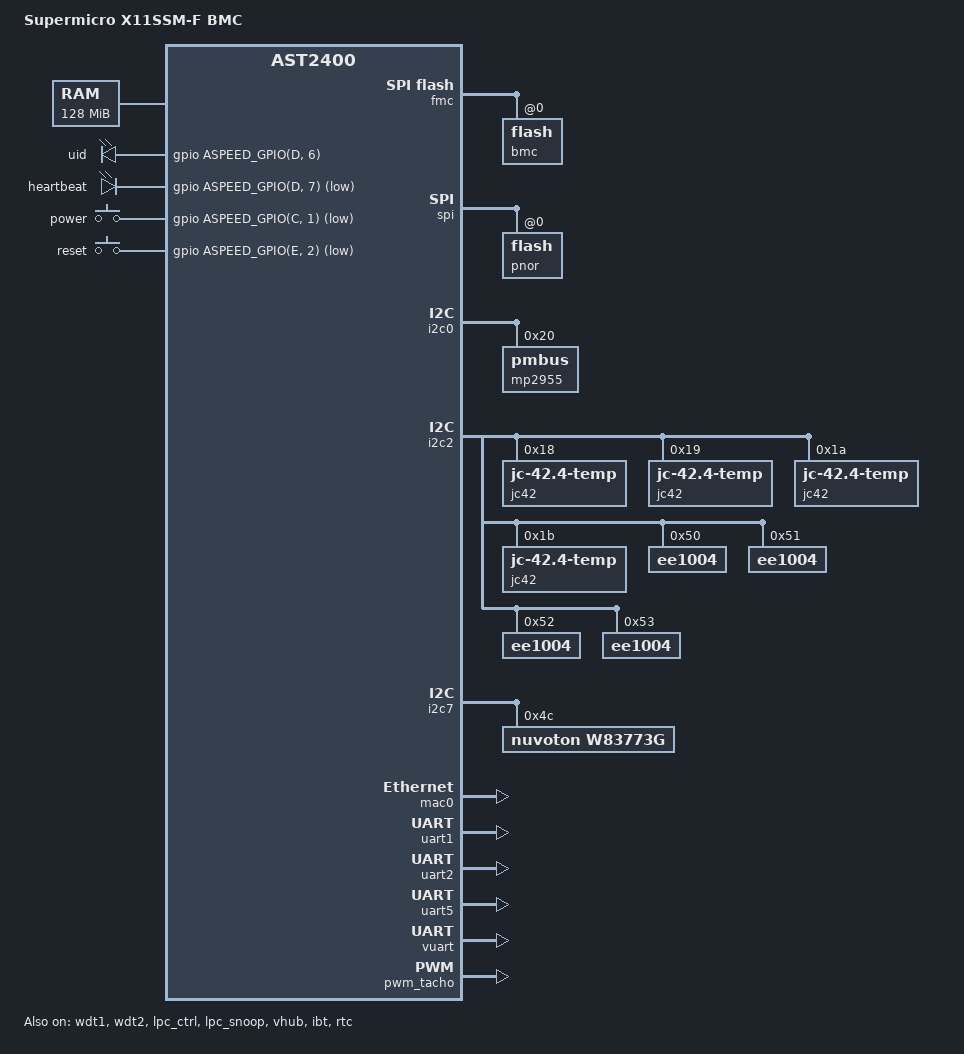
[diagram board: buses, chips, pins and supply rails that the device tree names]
// SPDX-License-Identifier: GPL-2.0+
/dts-v1/;

#include "aspeed-g4.dtsi"
#include <dt-bindings/gpio/aspeed-gpio.h>

/ {
	model = "Supermicro X11SSM-F BMC";
	compatible = "supermicro,x11ssmf-bmc", "aspeed,ast2400";

	chosen {
		stdout-path = &uart5;
		//bootargs = "console=ttyS4,115200 earlyprintk";
	};

	memory@40000000 {
		/* 128 MiB DDR3 memory */
		reg = <0x40000000 0x08000000>;
	};

	reserved-memory {
		#address-cells = <1>;
		#size-cells = <1>;
		ranges;

		vga_memory: framebuffer@47000000 {
			no-map;
			reg = <0x47000000 0x01000000>; /* 16MB */
		};

		flash_memory: region@98000000 {
			no-map;
			reg = <0x98000000 0x01000000>; /* 16MB */
		};
	};

	leds {
		compatible = "gpio-leds";

		uid {
			gpios = <&gpio ASPEED_GPIO(D, 6) GPIO_ACTIVE_HIGH>;
		};

		heartbeat {
			gpios = <&gpio ASPEED_GPIO(D, 7) GPIO_ACTIVE_LOW>;
		};
	};

	gpio-keys {
		compatible = "gpio-keys";

		power {
			label = "power";
			gpios = <&gpio ASPEED_GPIO(C, 1) GPIO_ACTIVE_LOW>;
			linux,code = <ASPEED_GPIO(C, 1)>;
		};

		reset {
			label = "reset";
			gpios = <&gpio ASPEED_GPIO(E, 2) GPIO_ACTIVE_LOW>;
			linux,code = <ASPEED_GPIO(E, 2)>;
		};
	};
/*
	iio-hwmon {
		compatible = "iio-hwmon";
		io-channels = <&adc 0>, <&adc 1>, <&adc 2>, <&adc 3>,
			      <&adc 4>, <&adc 5>, <&adc 6>, <&adc 7>,
			      <&adc 8>, <&adc 9>, <&adc 10>, <&adc 11>,
			      <&adc 12>, <&adc 13>, <&adc 14>, <&adc 15>;
	};
*/
};

&wdt1 {
	status = "okay";
	aspeed,reset-type = "system";
};

&wdt2 {
	status = "okay";
	aspeed,reset-type = "system";
};

&pinctrl {
	pinctrl-names = "default";
	pinctrl-0 = <&pinctrl_flbusy_default &pinctrl_flwp_default
		     &pinctrl_vgahs_default &pinctrl_vgavs_default
		     &pinctrl_ddcclk_default &pinctrl_ddcdat_default>;
};

&fmc {
	status = "okay";
	flash@0 {
		status = "okay";
		m25p,fast-read;
		label = "bmc";
#include "openbmc-flash-layout.dtsi"
	};
};

&spi {
	status = "okay";
	pinctrl-names = "default";
	pinctrl-0 = <&pinctrl_spi1_default>;
	flash@0 {
		status = "okay";
		m25p,fast-read;
		label = "pnor";
	};
};

&gpio {
/*
	pin_gpio_e4 {
		gpios = <&gpio ASPEED_GPIO(E, 4) GPIO_ACTIVE_LOW>;
		output-low;
		line-name = "bios_mux";
	};

	pin_gpio_e6 {
		gpios = <&gpio ASPEED_GPIO(E, 6) GPIO_ACTIVE_LOW>;
		output-high;
		line-name = "rtl8211e_phyrst";
	};
*/
};

&i2c0 {
	status = "okay";

	/* MPS MP2955 */
	mp2955@20 {
		compatible = "pmbus"; /* no specific driver available */
		reg = <0x20>;
	};
};

/*
&i2c1 {
	status = "okay";
};
*/

&i2c2 {
	status = "okay";

	/* DDR TEMP */
	jc42@18 {
		compatible = "jedec,jc-42.4-temp";
		reg = <0x18>;
	};

	/* DDR TEMP */
	jc42@19 {
		compatible = "jedec,jc-42.4-temp";
		reg = <0x19>;
	};

	/* DDR TEMP */
	jc42@1a {
		compatible = "jedec,jc-42.4-temp";
		reg = <0x1a>;
	};

	/* DDR TEMP */
	jc42@1b {
		compatible = "jedec,jc-42.4-temp";
		reg = <0x1b>;
	};

	/* SPD EEPROM */
	ee1004@50 {
		compatible = "ee1004";
		reg = <0x50>;
	};

	/* SPD EEPROM */
	ee1004@51 {
		compatible = "ee1004";
		reg = <0x51>;
	};

	/* SPD EEPROM */
	ee1004@52 {
		compatible = "ee1004";
		reg = <0x52>;
	};

	/* SPD EEPROM */
	ee1004@53 {
		compatible = "ee1004";
		reg = <0x53>;
	};
};

/*
&i2c3 {
	status = "okay";
};

&i2c4 {
	status = "okay";
};

&i2c5 {
	status = "okay";
};

&i2c6 {
	status = "okay";
};
*/

&i2c7 {
	status = "okay";

	/* Nuvoton W83773G */
	w83773g@4c {
		compatible = "nuvoton,w83773g";
		reg = <0x4c>;
	};
};

/*
&i2c13 {
	status = "okay";
};
*/

/*
&adc {
	status = "okay";
	pinctrl-names = "default";
	pinctrl-0 = <&pinctrl_adc0_default
		     &pinctrl_adc1_default
		     &pinctrl_adc2_default
		     &pinctrl_adc3_default
		     &pinctrl_adc4_default
		     &pinctrl_adc5_default
		     &pinctrl_adc6_default
		     &pinctrl_adc7_default
		     &pinctrl_adc8_default
		     &pinctrl_adc9_default
		     &pinctrl_adc10_default
		     &pinctrl_adc11_default
		     &pinctrl_adc12_default
		     &pinctrl_adc13_default
		     &pinctrl_adc14_default
		     &pinctrl_adc15_default>;
};
*/

&mac0 {
	status = "okay";

	pinctrl-names = "default";
	pinctrl-0 = <&pinctrl_rmii1_default>;

	use-ncsi;
};

/*
TODO: PHY is constantly resetting
&mac1 {
	status = "okay";

	pinctrl-names = "default";
	pinctrl-0 = <&pinctrl_rgmii2_default &pinctrl_mdio2_default>;

	//reset-gpios = <&gpio ASPEED_GPIO(E, 6) GPIO_ACTIVE_HIGH>;
};
*/

/* ttyS0 / COM A */
&uart1 {
	status = "okay";
};

/* ttyS1 / COM B */
&uart2 {
	status = "okay";
};

/* BMC console UART */
&uart5 {
	status = "okay";
};

&vuart {
    status = "okay";
};

&lpc_ctrl {
	status = "okay";
	memory-region = <&flash_memory>;
	flash = <&spi>;
};

&lpc_snoop {
    status = "okay";
    snoop-ports = <0x80 0x81>;
};

&vhub {
	status = "okay";
};

&pwm_tacho {
//todo: add appropriate cooling map
	status = "okay";
	pinctrl-names = "default";
	pinctrl-0 = <&pinctrl_pwm0_default
		     &pinctrl_pwm1_default>;

	// FAN 1-4
	fan@0 {
		reg = <0x00>;
		aspeed,fan-tach-ch = /bits/ 8 <0x00 0x01 0x02 0x03>;
	};

	// FAN A
	fan@1 {
		reg = <0x01>;
		aspeed,fan-tach-ch = /bits/ 8 <0x06>;
	};
};

&ibt {
	status = "okay";
};

/*
&peci0 {
	status = "okay";

	intel-peci-client@30 {
		compatible = "intel,peci-client";
		reg = <0x30>;
		status = "okay";
	};
};
*/

&rtc {
	status = "okay";
};
